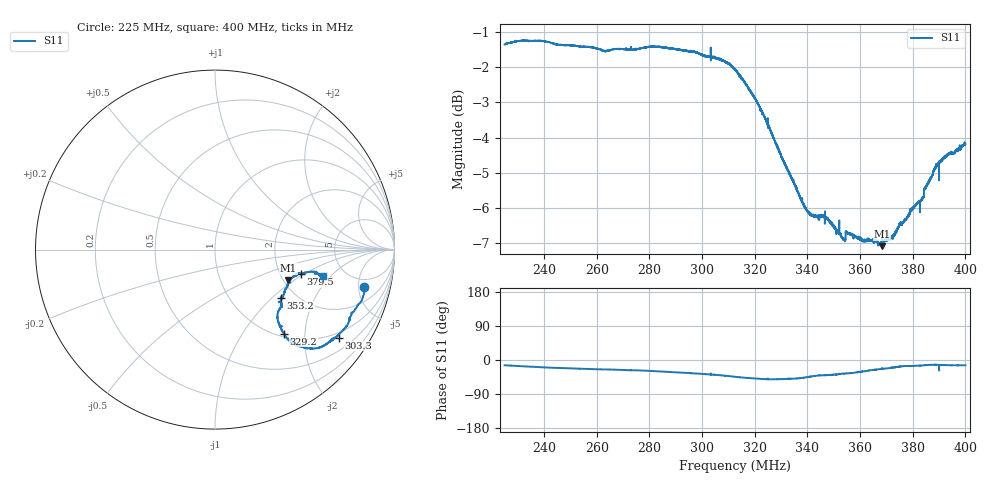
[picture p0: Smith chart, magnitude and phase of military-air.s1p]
! Calibrated averaged scanner-service zoom
# Hz S RI R 50
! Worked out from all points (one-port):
!   10001 points, 225 MHz to 400 MHz, reference 50 ohm
!   lowest |S11| = -7.1 dB at 368.3 MHz (marker M1), VSWR 2.59, Z = 106 - j45.1 ohm
!   |S11| at or under -10 dB: nowhere
!   S11 on the Smith chart (normalised r, x): 225 MHz: 3.78, -5.77; 303.3 MHz: 0.84, -2.91; 329.2 MHz: 1.06, -1.56; 353.2 MHz: 1.68, -1.14; 379.5 MHz: 2.59, -0.94; 400 MHz: 3.39, -1.64
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2.25e8  0.8298 -0.2056
2.32875e8  0.8283 -0.2524
2.409775e8  0.8119 -0.2927
2.46875e8  0.7952 -0.3101
2.626425e8  0.7597 -0.3525
2.6875e8  0.7571 -0.3695
2.803175e8  0.7439 -0.4098
2.90625e8  0.7083 -0.4541
3.033125e8  0.6895 -0.4909
3.08125e8  0.6107 -0.5317
3.125e8  0.5642 -0.5495
3.162975e8  0.5167 -0.5494
3.212675e8  0.4587 -0.5341
3.260975e8  0.4071 -0.5001
3.292475e8  0.3838 -0.4676
3.34375e8  0.3582 -0.4169
3.383475e8  0.3477 -0.3702
3.42005e8  0.3593 -0.3325
3.458025e8  0.3726 -0.3168
3.531525e8  0.3677 -0.2693
3.5625e8  0.3786 -0.2614
3.6829e8  0.4083 -0.1709
3.7228e8  0.428 -0.1578
3.78125e8  0.4694 -0.1328
3.7949e8  0.4793 -0.1363
3.83375e8  0.4991 -0.1302
3.890625e8  0.5611 -0.1263
4e8  0.5999 -0.1494
